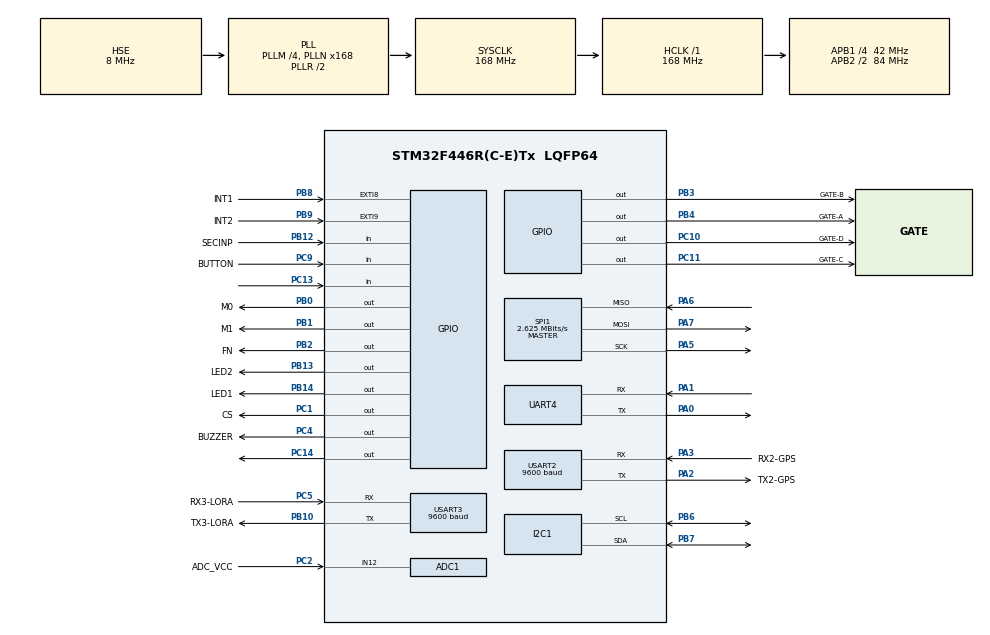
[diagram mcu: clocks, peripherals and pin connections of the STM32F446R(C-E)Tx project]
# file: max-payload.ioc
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ADC1.Channel-11\#ChannelRegularConversion=ADC_CHANNEL_12
ADC1.ContinuousConvMode=ENABLE
ADC1.NbrOfConversionFlag=1
ADC1.Rank-11\#ChannelRegularConversion=1
ADC1.SamplingTime-11\#ChannelRegularConversion=ADC_SAMPLETIME_3CYCLES
ADC1.master=1
I2C1.I2C_Mode=I2C_Fast
Mcu.Family=STM32F4
Mcu.Name=STM32F446R(C-E)Tx
Mcu.Package=LQFP64
NVIC.ADC_IRQn=true\:0\:0\:false\:false\:true\:true\:true\:true
NVIC.PriorityGroup=NVIC_PRIORITYGROUP_4
NVIC.TIM1_TRG_COM_TIM11_IRQn=true\:0\:0\:false\:false\:true\:true\:true\:true
NVIC.TIM1_UP_TIM10_IRQn=true\:0\:0\:false\:false\:true\:true\:true\:true
NVIC.TIM6_DAC_IRQn=true\:0\:0\:false\:false\:true\:true\:true\:true
NVIC.TIM7_IRQn=true\:0\:0\:false\:false\:true\:true\:true\:true
NVIC.USART2_IRQn=true\:0\:0\:false\:false\:true\:true\:true\:true
NVIC.USART3_IRQn=true\:0\:0\:false\:false\:true\:true\:true\:true
PA0-WKUP.Mode=Asynchronous
PA0-WKUP.Signal=UART4_TX
PA1.Mode=Asynchronous
PA1.Signal=UART4_RX
PA13.Mode=Serial_Wire
PA13.Signal=SYS_JTMS-SWDIO
PA14.Mode=Serial_Wire
PA14.Signal=SYS_JTCK-SWCLK
PA2.GPIO_Label=TX2-GPS
PA2.Mode=Asynchronous
PA2.Signal=USART2_TX
PA3.GPIO_Label=RX2-GPS
PA3.Mode=Asynchronous
PA3.Signal=USART2_RX
PA5.Mode=Full_Duplex_Master
PA5.Signal=SPI1_SCK
PA6.Mode=Full_Duplex_Master
PA6.Signal=SPI1_MISO
PA7.Mode=Full_Duplex_Master
PA7.Signal=SPI1_MOSI
PB0.GPIO_Label=M0
PB0.Signal=GPIO_Output
PB1.GPIO_Label=M1
PB1.Signal=GPIO_Output
PB10.GPIO_Label=TX3-LORA
PB10.Mode=Asynchronous
PB10.Signal=USART3_TX
PB12.GPIO_Label=SECINP
PB12.GPIO_PuPd=GPIO_PULLUP
PB12.Signal=GPIO_Input
PB13.GPIO_Label=LED2
PB13.Signal=GPIO_Output
PB14.GPIO_Label=LED1
PB14.Signal=GPIO_Output
PB2.GPIO_Label=FN
PB2.PinState=GPIO_PIN_SET
PB2.Signal=GPIO_Output
PB3.GPIO_Label=GATE-B
PB3.Signal=GPIO_Output
PB4.GPIO_Label=GATE-A
PB4.Signal=GPIO_Output
PB6.Mode=I2C
PB6.Signal=I2C1_SCL
PB7.Mode=I2C
PB7.Signal=I2C1_SDA
PB8.GPIO_Label=INT1
PB8.GPIO_ModeDefaultEXTI=GPIO_MODE_IT_RISING
PB8.Signal=GPXTI8
PB9.GPIO_Label=INT2
PB9.GPIO_PuPd=GPIO_NOPULL
PB9.Signal=GPXTI9
PC1.GPIO_Label=CS
PC1.Signal=GPIO_Output
PC10.GPIO_Label=GATE-D
PC10.Signal=GPIO_Output
PC11.GPIO_Label=GATE-C
PC11.Signal=GPIO_Output
PC13.GPIO_PuPd=GPIO_PULLDOWN
PC13.Signal=GPIO_Input
PC14-OSC32_IN.Signal=GPIO_Output
PC2.GPIO_Label=ADC_VCC
PC2.Signal=ADCx_IN12
PC4.GPIO_Label=BUZZER
PC4.Signal=GPIO_Output
PC5.GPIO_Label=RX3-LORA
PC5.Mode=Asynchronous
PC5.Signal=USART3_RX
PC9.GPIO_Label=BUTTON
PC9.GPIO_PuPd=GPIO_PULLUP
PC9.Signal=GPIO_Input
PH0-OSC_IN.Mode=HSE-External-Oscillator
PH0-OSC_IN.Signal=RCC_OSC_IN
PH1-OSC_OUT.Mode=HSE-External-Oscillator
PH1-OSC_OUT.Signal=RCC_OSC_OUT
ProjectManager.HeapSize=0x200
ProjectManager.StackSize=0x400
ProjectManager.TargetToolchain=STM32CubeIDE
RCC.AHBFreq_Value=168000000
RCC.APB1CLKDivider=RCC_HCLK_DIV4
RCC.APB1Freq_Value=42000000
RCC.APB1TimFreq_Value=84000000
RCC.APB2CLKDivider=RCC_HCLK_DIV2
RCC.APB2Freq_Value=84000000
RCC.APB2TimFreq_Value=168000000
RCC.CortexFreq_Value=168000000
RCC.HCLKFreq_Value=168000000
RCC.HSE_VALUE=8000000
RCC.PLLM=4
RCC.PLLN=168
RCC.PLLQ=7
RCC.PLLSourceVirtual=RCC_PLLSOURCE_HSE
RCC.SYSCLKFreq_VALUE=168000000
RCC.SYSCLKSource=RCC_SYSCLKSOURCE_PLLRCLK
RCC.USBFreq_Value=48000000
RCC.VCOOutputFreq_Value=336000000
SH.ADCx_IN12.0=ADC1_IN12,IN12
SPI1.BaudRatePrescaler=SPI_BAUDRATEPRESCALER_32
SPI1.CalculateBaudRate=2.625 MBits/s
SPI1.Direction=SPI_DIRECTION_2LINES
SPI1.Mode=SPI_MODE_MASTER
SPI1.VirtualType=VM_MASTER
TIM10.Period=4999
TIM10.Prescaler=1680
TIM11.Period=60999
TIM11.Prescaler=16800
TIM6.Period=34999
TIM6.Prescaler=8400
TIM7.Period=65000-1
TIM7.Prescaler=8400-1
UART4.VirtualMode=Asynchronous
USART2.BaudRate=9600
USART2.VirtualMode=VM_ASYNC
USART3.BaudRate=9600
USART3.VirtualMode=VM_ASYNC
VP_FATFS_VS_Generic.Mode=User_defined
VP_TIM10_VS_ClockSourceINT.Mode=Enable_Timer
VP_TIM11_VS_ClockSourceINT.Mode=Enable_Timer
VP_TIM6_VS_ClockSourceINT.Mode=Enable_Timer
VP_TIM7_VS_ClockSourceINT.Mode=Enable_Timer
board=custom

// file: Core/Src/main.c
/* USER CODE BEGIN Header */
/**
  ******************************************************************************
  * @file           : main.c
  * @brief          : Main program body
  ******************************************************************************
  * @attention
  *
  * Copyright (c) 2024 STMicroelectronics.
  * All rights reserved.
  *
  * This software is licensed under terms that can be found in the LICENSE file
  * in the root directory of this software component.
  * If no LICENSE file comes with this software, it is provided AS-IS.
  *
  ******************************************************************************
  */
/* USER CODE END Header */
#include "main.h"
#include "fatfs.h"

/* USER CODE BEGIN Includes */
#include "lwgps/lwgps.h"
#include "LSM6DSLTR.h"
#include "./BME280/bme280.h"
#include "w25q.h"
#include <math.h>
#include "FIR_FILTER.h"
#include "string.h"
#include "kalman.h"
/* USER CODE END Includes */

/* USER CODE BEGIN PD */
#define LORA_TX_BUFFER_SIZE 75
#define RX_BUFFER_SIZE 128
#define DEVICE_ID 3

/* USER CODE END PD */

ADC_HandleTypeDef hadc1;

I2C_HandleTypeDef hi2c1;

SPI_HandleTypeDef hspi1;

TIM_HandleTypeDef htim6;
TIM_HandleTypeDef htim7;
TIM_HandleTypeDef htim10;
TIM_HandleTypeDef htim11;

UART_HandleTypeDef huart4;
UART_HandleTypeDef huart2;
UART_HandleTypeDef huart3;

/* USER CODE BEGIN PV */

uint8_t rx_buffer[RX_BUFFER_SIZE];
uint8_t rx_index=0;
uint8_t rx_data=0;

float adc_pil_val=0;
float adc =0;
uint8_t counter=0;
uint8_t adc_flag=0;

uint8_t v4_battery=0;
uint8_t v4_mod=0;

uint8_t BUTTON_STATE=0;

uint8_t writeData[50] = {0,1,1,1};
uint8_t readData[50] = {0};

uint8_t loratx[LORA_TX_BUFFER_SIZE];
uint8_t lora_flag=0;
uint8_t sensor_flag=0;
uint8_t buzzer_flag=0;

float temperature=0;
float humidity=0;
float altitude=0;
float offset_altitude=0;
float pressure=0;
float alt=0;
float P0 = 1013.25;
float prev_alt=0;
float speed=0;
float altitude_max , speed_max, x_max;

float real_pitch, real_roll , toplam_pitch,toplam_roll;
float altitude_kalman;
uint8_t  sensor_counter =0, altitude_rampa_control=0;
uint16_t stage_sayac =0;
KalmanFilter kf;

typedef union{
  float fVal;
  unsigned char array[4];
}float2unit8;

enum ZORLU2024
{
	RAMPA,UCUS,BURNOUT,AYIR,AYRILDI_MI,AYRILDI,AYRILMADI,FINISH
};
enum ZORLU2024 BOOSTER;
/* USER CODE END PV */

void SystemClock_Config(void);
static void MX_GPIO_Init(void);
static void MX_ADC1_Init(void);
static void MX_I2C1_Init(void);
static void MX_SPI1_Init(void);
static void MX_UART4_Init(void);
static void MX_USART2_UART_Init(void);
static void MX_USART3_UART_Init(void);
static void MX_TIM11_Init(void);
static void MX_TIM10_Init(void);
static void MX_TIM6_Init(void);
static void MX_TIM7_Init(void);
/* USER CODE BEGIN PFP */
int16_t I2C_Testsensor(void);
int8_t user_i2c_read(uint8_t id, uint8_t reg_addr, uint8_t *data, uint16_t len);
int8_t user_i2c_write(uint8_t id, uint8_t reg_addr, uint8_t *data, uint16_t len);
void user_delay_ms(uint32_t period);
float BME280_Get_Altitude(void);
void E220_CONFIG(uint8_t ADDH, uint8_t ADDL, uint8_t CHN, uint8_t MODE);
void union_converter();
void Altitude_Offset();
/* USER CODE END PFP */

/* USER CODE BEGIN 0 */
lwgps_t gps;
LSM6DSLTR Lsm_Sensor;
FIRFilter accx;
FIRFilter IMU_GYROX;
FIRFilter IMU_GYROY;
FIRFilter IMU_GYROZ;

struct bme280_dev dev;
struct bme280_data comp_data;
int8_t rslt=0;

void HAL_UART_RxCpltCallback(UART_HandleTypeDef *huart)
{
	if(rx_data != '\n' && rx_index < RX_BUFFER_SIZE)
	{
		rx_buffer[rx_index++] = rx_data;
	}
	else {
		lwgps_process(&gps, rx_buffer, rx_index+1);
		rx_index = 0;
		rx_data = 0;
	}
	HAL_UART_Receive_IT(&huart2, &rx_data, 1);

}

void HAL_TIM_PeriodElapsedCallback(TIM_HandleTypeDef *htim)
{

	if(htim==&htim11){ // 1.5sn
		lora_flag=1;

		counter++;
		if(counter == 2)
		{
			adc_flag=1;
			counter =0;
			HAL_ADC_Start_IT(&hadc1);
		}

	}

	if(htim==&htim10){ //50 ms timer
		sensor_flag=1;

	}

	if(htim==&htim6){
    //  motor_burnout++;
	}
	if(htim==&htim7){
     // kesin_burnout++;
	}
}

void HAL_ADC_ConvCpltCallback(ADC_HandleTypeDef* hadc)
{
	if(hadc->Instance == ADC1 )
	{
		adc= HAL_ADC_GetValue(&hadc1);

		adc_flag = 1;
	}
}

/* USER CODE END 0 */

int main(void)
{

  /* MCU Configuration--------------------------------------------------------*/

  /* Reset of all peripherals, Initializes the Flash interface and the Systick. */
  HAL_Init();

  /* Configure the system clock */
  SystemClock_Config();

  /* Initialize all configured peripherals */
  MX_GPIO_Init();
  MX_ADC1_Init();
  MX_I2C1_Init();
  MX_SPI1_Init();
  MX_UART4_Init();
  MX_USART2_UART_Init();
  MX_USART3_UART_Init();
  MX_FATFS_Init();
  MX_TIM11_Init();
  MX_TIM10_Init();
  MX_TIM6_Init();
  MX_TIM7_Init();
  /* USER CODE BEGIN 2 */
  HAL_GPIO_WritePin(GPIOB, GPIO_PIN_2, GPIO_PIN_SET);
  HAL_GPIO_WritePin(GPIOC, GPIO_PIN_1, GPIO_PIN_SET);
  HAL_GPIO_WritePin(GPIOC, GPIO_PIN_14, GPIO_PIN_SET);

  ///KURTARMA PORTLARI KAPALI EMIN OL
  HAL_GPIO_WritePin(GPIOB, GPIO_PIN_4, GPIO_PIN_RESET);//A
  HAL_GPIO_WritePin(GPIOB, GPIO_PIN_3, GPIO_PIN_RESET);//B
  HAL_GPIO_WritePin(GPIOC, GPIO_PIN_11, GPIO_PIN_RESET);//C
  HAL_GPIO_WritePin(GPIOC, GPIO_PIN_10, GPIO_PIN_RESET);//D

  HAL_UART_Receive_IT(&huart2,&rx_data,1);
  HAL_TIM_Base_Start_IT(&htim11);
  HAL_TIM_Base_Start_IT(&htim10);
  HAL_ADC_Start_IT(&hadc1);

  MAFilter_Init(&accx);
  FIRFilter_Init(&IMU_GYROY);
  FIRFilter_Init(&IMU_GYROX);
  FIRFilter_Init(&IMU_GYROZ);

  lwgps_init(&gps);
  LSM6DSLTR_Init();
  E220_CONFIG(0x6,0x3A,0X10,1); // 0x10 ch

   dev.dev_id = BME280_I2C_ADDR_PRIM;
   dev.intf = BME280_I2C_INTF;
   dev.read = user_i2c_read;
   dev.write = user_i2c_write;
   dev.delay_ms = user_delay_ms;

   rslt = bme280_init(&dev);

   dev.settings.osr_h = BME280_OVERSAMPLING_1X;
   dev.settings.osr_p = BME280_OVERSAMPLING_4X;
   dev.settings.osr_t = BME280_OVERSAMPLING_2X;
   dev.settings.filter = BME280_FILTER_COEFF_16;
   rslt = bme280_set_sensor_settings(BME280_OSR_PRESS_SEL | BME280_OSR_TEMP_SEL | BME280_OSR_HUM_SEL | BME280_FILTER_SEL, &dev);

   ////ALTITUDE OFFSET

    Altitude_Offset();
    HAL_GPIO_TogglePin(GPIOC,GPIO_PIN_4);
	HAL_GPIO_TogglePin(GPIOB,GPIO_PIN_14);
	HAL_GPIO_TogglePin(GPIOB,GPIO_PIN_13);
	HAL_Delay(1000);
	HAL_GPIO_TogglePin(GPIOC,GPIO_PIN_4);
	HAL_GPIO_TogglePin(GPIOB,GPIO_PIN_14);
	HAL_GPIO_TogglePin(GPIOB,GPIO_PIN_13);
	HAL_Delay(100);
	// KalmanFilter_Init(&kf, 0.005, 0.1, 0.0);

  /* USER CODE END 2 */

  /* Infinite loop */
  /* USER CODE BEGIN WHILE */
  while (1)
  {

		   if(sensor_flag==1)
		   {
					sensor_flag=0;
					prev_alt=altitude;
					rslt = bme280_set_sensor_mode(BME280_FORCED_MODE, &dev);

					rslt = bme280_get_sensor_data(BME280_ALL, &comp_data, &dev);
					if(rslt == BME280_OK)
					{
					  temperature = comp_data.temperature/100.00;
					  humidity = comp_data.humidity;
					  pressure = comp_data.pressure;
					  altitude=BME280_Get_Altitude()-offset_altitude;
					//  altitude_kalman= KalmanFilter_Update(&kf, altitude);
					  speed=(altitude-prev_alt)*33.3;

					}
					 LSM6DSLTR_Read_Accel_Data(&Lsm_Sensor);
					 calculate_roll_pitch(&Lsm_Sensor);
					 LSM6DSLTR_Read_Gyro_Data(&Lsm_Sensor);
					 update_angles(&Lsm_Sensor);

					 Lsm_Sensor.Accel_X=FIRFilter_Update(&accx,  Lsm_Sensor.Accel_X);

					 Lsm_Sensor.Gyro_X=FIRFilter_Update(&IMU_GYROX,  Lsm_Sensor.Gyro_X);
					 Lsm_Sensor.Gyro_Y=FIRFilter_Update(&IMU_GYROY, Lsm_Sensor.Gyro_Y);
					 Lsm_Sensor.Gyro_Z=FIRFilter_Update(&IMU_GYROZ, Lsm_Sensor.Gyro_Z);

					 toplam_pitch+= Lsm_Sensor.Pitch;
					 toplam_roll+= Lsm_Sensor.Roll;

					 sensor_counter++;
					 if(sensor_counter == 6)
					 {
						 real_pitch = toplam_pitch/6;
						 real_roll = toplam_roll/6;
						 toplam_roll=0;
						 toplam_pitch=0;
						 sensor_counter =0;
					 }

					 BUTTON_STATE=HAL_GPIO_ReadPin(GPIOC, GPIO_PIN_9);

		   }

   if(lora_flag==1)
   {

		loratx[0]=0x7;
		loratx[1]=0x2B;
		loratx[2]=0x12;
		loratx[3]=DEVICE_ID;
		loratx[4]=gps.sats_in_view;

		union_converter();

		loratx[49]=v4_battery;
		loratx[50]=0x33; // v4mod
		loratx[51]=0;
		 for(uint8_t i=52;i<69;i++)
		 {
			loratx[i]='0';
		 }

		loratx[73]=v4_mod;
		loratx[74]='\n';

    	HAL_UART_Transmit_IT(&huart3,loratx,LORA_TX_BUFFER_SIZE  );
 	   lora_flag=0;

         }

/************************************************************************************/

/*************************************************************************************/
		  if(altitude>altitude_max) altitude_max = altitude;

		  if(speed>speed_max) speed_max = speed;

		  if( Lsm_Sensor.Accel_X> x_max) x_max =  Lsm_Sensor.Accel_X;

		  if(adc_flag ==1)
		  {
			  if(adc > 2476) adc = 2234;
			  if(adc < 1755) adc = 1755;
			  // 6V = 1755 adc val 1,41V
			  // 8.4V = 2476 adc val 1,99V 0,58V

		  adc_pil_val=(float)( ( ( (adc/4095)*3.3)-1.41) / (1.99-1.41) ) *100  ;
		  v4_battery= adc_pil_val;
		  adc_flag=0;
			}

    /* USER CODE END WHILE */

  }
}

void SystemClock_Config(void)
{
  RCC_OscInitTypeDef RCC_OscInitStruct = {0};
  RCC_ClkInitTypeDef RCC_ClkInitStruct = {0};

  /** Configure the main internal regulator output voltage
  */
  __HAL_RCC_PWR_CLK_ENABLE();
  __HAL_PWR_VOLTAGESCALING_CONFIG(PWR_REGULATOR_VOLTAGE_SCALE1);

  /** Initializes the RCC Oscillators according to the specified parameters
  * in the RCC_OscInitTypeDef structure.
  */
  RCC_OscInitStruct.OscillatorType = RCC_OSCILLATORTYPE_HSE;
  RCC_OscInitStruct.HSEState = RCC_HSE_ON;
  RCC_OscInitStruct.PLL.PLLState = RCC_PLL_ON;
  RCC_OscInitStruct.PLL.PLLSource = RCC_PLLSOURCE_HSE;
  RCC_OscInitStruct.PLL.PLLM = 4;
  RCC_OscInitStruct.PLL.PLLN = 168;
  RCC_OscInitStruct.PLL.PLLP = RCC_PLLP_DIV2;
  RCC_OscInitStruct.PLL.PLLQ = 7;
  RCC_OscInitStruct.PLL.PLLR = 2;
  if (HAL_RCC_OscConfig(&RCC_OscInitStruct) != HAL_OK)
  {
    Error_Handler();
  }

  /** Initializes the CPU, AHB and APB buses clocks
  */
  RCC_ClkInitStruct.ClockType = RCC_CLOCKTYPE_HCLK|RCC_CLOCKTYPE_SYSCLK
                              |RCC_CLOCKTYPE_PCLK1|RCC_CLOCKTYPE_PCLK2;
  RCC_ClkInitStruct.SYSCLKSource = RCC_SYSCLKSOURCE_PLLRCLK;
  RCC_ClkInitStruct.AHBCLKDivider = RCC_SYSCLK_DIV1;
  RCC_ClkInitStruct.APB1CLKDivider = RCC_HCLK_DIV4;
  RCC_ClkInitStruct.APB2CLKDivider = RCC_HCLK_DIV2;

  if (HAL_RCC_ClockConfig(&RCC_ClkInitStruct, FLASH_LATENCY_5) != HAL_OK)
  {
    Error_Handler();
  }
}

static void MX_ADC1_Init(void)
{

  ADC_ChannelConfTypeDef sConfig = {0};

  /** Configure the global features of the ADC (Clock, Resolution, Data Alignment and number of conversion)
  */
  hadc1.Instance = ADC1;
  hadc1.Init.ClockPrescaler = ADC_CLOCK_SYNC_PCLK_DIV4;
  hadc1.Init.Resolution = ADC_RESOLUTION_12B;
  hadc1.Init.ScanConvMode = DISABLE;
  hadc1.Init.ContinuousConvMode = ENABLE;
  hadc1.Init.DiscontinuousConvMode = DISABLE;
  hadc1.Init.ExternalTrigConvEdge = ADC_EXTERNALTRIGCONVEDGE_NONE;
  hadc1.Init.ExternalTrigConv = ADC_SOFTWARE_START;
  hadc1.Init.DataAlign = ADC_DATAALIGN_RIGHT;
  hadc1.Init.NbrOfConversion = 1;
  hadc1.Init.DMAContinuousRequests = DISABLE;
  hadc1.Init.EOCSelection = ADC_EOC_SINGLE_CONV;
  if (HAL_ADC_Init(&hadc1) != HAL_OK)
  {
    Error_Handler();
  }

  /** Configure for the selected ADC regular channel its corresponding rank in the sequencer and its sample time.
  */
  sConfig.Channel = ADC_CHANNEL_12;
  sConfig.Rank = 1;
  sConfig.SamplingTime = ADC_SAMPLETIME_3CYCLES;
  if (HAL_ADC_ConfigChannel(&hadc1, &sConfig) != HAL_OK)
  {
    Error_Handler();
  }

}

static void MX_I2C1_Init(void)
{

  hi2c1.Instance = I2C1;
  hi2c1.Init.ClockSpeed = 400000;
  hi2c1.Init.DutyCycle = I2C_DUTYCYCLE_2;
  hi2c1.Init.OwnAddress1 = 0;
  hi2c1.Init.AddressingMode = I2C_ADDRESSINGMODE_7BIT;
  hi2c1.Init.DualAddressMode = I2C_DUALADDRESS_DISABLE;
  hi2c1.Init.OwnAddress2 = 0;
  hi2c1.Init.GeneralCallMode = I2C_GENERALCALL_DISABLE;
  hi2c1.Init.NoStretchMode = I2C_NOSTRETCH_DISABLE;
  if (HAL_I2C_Init(&hi2c1) != HAL_OK)
  {
    Error_Handler();
  }

}

static void MX_SPI1_Init(void)
{

  /* SPI1 parameter configuration*/
  hspi1.Instance = SPI1;
  hspi1.Init.Mode = SPI_MODE_MASTER;
  hspi1.Init.Direction = SPI_DIRECTION_2LINES;
  hspi1.Init.DataSize = SPI_DATASIZE_8BIT;
  hspi1.Init.CLKPolarity = SPI_POLARITY_LOW;
  hspi1.Init.CLKPhase = SPI_PHASE_1EDGE;
  hspi1.Init.NSS = SPI_NSS_SOFT;
  hspi1.Init.BaudRatePrescaler = SPI_BAUDRATEPRESCALER_32;
  hspi1.Init.FirstBit = SPI_FIRSTBIT_MSB;
  hspi1.Init.TIMode = SPI_TIMODE_DISABLE;
  hspi1.Init.CRCCalculation = SPI_CRCCALCULATION_DISABLE;
  hspi1.Init.CRCPolynomial = 10;
  if (HAL_SPI_Init(&hspi1) != HAL_OK)
  {
    Error_Handler();
  }

}

static void MX_TIM6_Init(void)
{

  TIM_MasterConfigTypeDef sMasterConfig = {0};

  htim6.Instance = TIM6;
  htim6.Init.Prescaler = 8400;
  htim6.Init.CounterMode = TIM_COUNTERMODE_UP;
  htim6.Init.Period = 34999;
  htim6.Init.AutoReloadPreload = TIM_AUTORELOAD_PRELOAD_DISABLE;
  if (HAL_TIM_Base_Init(&htim6) != HAL_OK)
  {
    Error_Handler();
  }
  sMasterConfig.MasterOutputTrigger = TIM_TRGO_RESET;
  sMasterConfig.MasterSlaveMode = TIM_MASTERSLAVEMODE_DISABLE;
  if (HAL_TIMEx_MasterConfigSynchronization(&htim6, &sMasterConfig) != HAL_OK)
  {
    Error_Handler();
  }

}

static void MX_TIM7_Init(void)
{

  TIM_MasterConfigTypeDef sMasterConfig = {0};

  htim7.Instance = TIM7;
  htim7.Init.Prescaler = 8400-1;
  htim7.Init.CounterMode = TIM_COUNTERMODE_UP;
  htim7.Init.Period = 65000-1;
  htim7.Init.AutoReloadPreload = TIM_AUTORELOAD_PRELOAD_DISABLE;
  if (HAL_TIM_Base_Init(&htim7) != HAL_OK)
  {
    Error_Handler();
  }
  sMasterConfig.MasterOutputTrigger = TIM_TRGO_RESET;
  sMasterConfig.MasterSlaveMode = TIM_MASTERSLAVEMODE_DISABLE;
  if (HAL_TIMEx_MasterConfigSynchronization(&htim7, &sMasterConfig) != HAL_OK)
  {
    Error_Handler();
  }

}

static void MX_TIM10_Init(void)
{

  htim10.Instance = TIM10;
  htim10.Init.Prescaler = 1680;
  htim10.Init.CounterMode = TIM_COUNTERMODE_UP;
  htim10.Init.Period = 4999;
  htim10.Init.ClockDivision = TIM_CLOCKDIVISION_DIV1;
  htim10.Init.AutoReloadPreload = TIM_AUTORELOAD_PRELOAD_DISABLE;
  if (HAL_TIM_Base_Init(&htim10) != HAL_OK)
  {
    Error_Handler();
  }

}

static void MX_TIM11_Init(void)
{

  htim11.Instance = TIM11;
  htim11.Init.Prescaler = 16800;
  htim11.Init.CounterMode = TIM_COUNTERMODE_UP;
  htim11.Init.Period = 60999;
  htim11.Init.ClockDivision = TIM_CLOCKDIVISION_DIV1;
  htim11.Init.AutoReloadPreload = TIM_AUTORELOAD_PRELOAD_DISABLE;
  if (HAL_TIM_Base_Init(&htim11) != HAL_OK)
  {
    Error_Handler();
  }

}

static void MX_UART4_Init(void)
{

  huart4.Instance = UART4;
  huart4.Init.BaudRate = 115200;
  huart4.Init.WordLength = UART_WORDLENGTH_8B;
  huart4.Init.StopBits = UART_STOPBITS_1;
  huart4.Init.Parity = UART_PARITY_NONE;
  huart4.Init.Mode = UART_MODE_TX_RX;
  huart4.Init.HwFlowCtl = UART_HWCONTROL_NONE;
  huart4.Init.OverSampling = UART_OVERSAMPLING_16;
  if (HAL_UART_Init(&huart4) != HAL_OK)
  {
    Error_Handler();
  }

}

static void MX_USART2_UART_Init(void)
{

  huart2.Instance = USART2;
  huart2.Init.BaudRate = 9600;
  huart2.Init.WordLength = UART_WORDLENGTH_8B;
  huart2.Init.StopBits = UART_STOPBITS_1;
  huart2.Init.Parity = UART_PARITY_NONE;
  huart2.Init.Mode = UART_MODE_TX_RX;
  huart2.Init.HwFlowCtl = UART_HWCONTROL_NONE;
  huart2.Init.OverSampling = UART_OVERSAMPLING_16;
  if (HAL_UART_Init(&huart2) != HAL_OK)
  {
    Error_Handler();
  }

}

static void MX_USART3_UART_Init(void)
{

  huart3.Instance = USART3;
  huart3.Init.BaudRate = 9600;
  huart3.Init.WordLength = UART_WORDLENGTH_8B;
  huart3.Init.StopBits = UART_STOPBITS_1;
  huart3.Init.Parity = UART_PARITY_NONE;
  huart3.Init.Mode = UART_MODE_TX_RX;
  huart3.Init.HwFlowCtl = UART_HWCONTROL_NONE;
  huart3.Init.OverSampling = UART_OVERSAMPLING_16;
  if (HAL_UART_Init(&huart3) != HAL_OK)
  {
    Error_Handler();
  }

}

static void MX_GPIO_Init(void)
{
  GPIO_InitTypeDef GPIO_InitStruct = {0};

  /* GPIO Ports Clock Enable */
  __HAL_RCC_GPIOC_CLK_ENABLE();
  __HAL_RCC_GPIOH_CLK_ENABLE();
  __HAL_RCC_GPIOA_CLK_ENABLE();
  __HAL_RCC_GPIOB_CLK_ENABLE();

  /*Configure GPIO pin Output Level */
  HAL_GPIO_WritePin(GPIOC, GPIO_PIN_14|CS_Pin|BUZZER_Pin|GATE_D_Pin
                          |GATE_C_Pin, GPIO_PIN_RESET);

  /*Configure GPIO pin Output Level */
  HAL_GPIO_WritePin(GPIOB, M0_Pin|M1_Pin|LED2_Pin|LED1_Pin
                          |GATE_B_Pin|GATE_A_Pin, GPIO_PIN_RESET);

  /*Configure GPIO pin Output Level */
  HAL_GPIO_WritePin(FN_GPIO_Port, FN_Pin, GPIO_PIN_SET);

  /*Configure GPIO pin : PC13 */
  GPIO_InitStruct.Pin = GPIO_PIN_13;
  GPIO_InitStruct.Mode = GPIO_MODE_INPUT;
  GPIO_InitStruct.Pull = GPIO_PULLDOWN;
  HAL_GPIO_Init(GPIOC, &GPIO_InitStruct);

  /*Configure GPIO pins : PC14 CS_Pin BUZZER_Pin GATE_D_Pin
                           GATE_C_Pin */
  GPIO_InitStruct.Pin = GPIO_PIN_14|CS_Pin|BUZZER_Pin|GATE_D_Pin
                          |GATE_C_Pin;
  GPIO_InitStruct.Mode = GPIO_MODE_OUTPUT_PP;
  GPIO_InitStruct.Pull = GPIO_NOPULL;
  GPIO_InitStruct.Speed = GPIO_SPEED_FREQ_LOW;
  HAL_GPIO_Init(GPIOC, &GPIO_InitStruct);

  /*Configure GPIO pins : M0_Pin M1_Pin FN_Pin LED2_Pin
                           LED1_Pin GATE_B_Pin GATE_A_Pin */
  GPIO_InitStruct.Pin = M0_Pin|M1_Pin|FN_Pin|LED2_Pin
                          |LED1_Pin|GATE_B_Pin|GATE_A_Pin;
  GPIO_InitStruct.Mode = GPIO_MODE_OUTPUT_PP;
  GPIO_InitStruct.Pull = GPIO_NOPULL;
  GPIO_InitStruct.Speed = GPIO_SPEED_FREQ_LOW;
  HAL_GPIO_Init(GPIOB, &GPIO_InitStruct);

  /*Configure GPIO pin : SECINP_Pin */
  GPIO_InitStruct.Pin = SECINP_Pin;
  GPIO_InitStruct.Mode = GPIO_MODE_INPUT;
  GPIO_InitStruct.Pull = GPIO_PULLUP;
  HAL_GPIO_Init(SECINP_GPIO_Port, &GPIO_InitStruct);

  /*Configure GPIO pin : BUTTON_Pin */
  GPIO_InitStruct.Pin = BUTTON_Pin;
  GPIO_InitStruct.Mode = GPIO_MODE_INPUT;
  GPIO_InitStruct.Pull = GPIO_PULLUP;
  HAL_GPIO_Init(BUTTON_GPIO_Port, &GPIO_InitStruct);

  /*Configure GPIO pins : INT1_Pin INT2_Pin */
  GPIO_InitStruct.Pin = INT1_Pin|INT2_Pin;
  GPIO_InitStruct.Mode = GPIO_MODE_IT_RISING;
  GPIO_InitStruct.Pull = GPIO_NOPULL;
  HAL_GPIO_Init(GPIOB, &GPIO_InitStruct);

}

/* USER CODE BEGIN 4 */
int16_t I2C_Testsensor(void){

	HAL_StatusTypeDef status;

	status=HAL_I2C_IsDeviceReady(&hi2c1,0x6A <<1, 4, 100);

	if(HAL_OK==status){

		return 1;
		}
	else {
		return 0;
		}

}
void E220_CONFIG(uint8_t ADDH, uint8_t ADDL, uint8_t CHN, uint8_t MODE)
{
    HAL_GPIO_WritePin(GPIOB, GPIO_PIN_2, SET);
    HAL_GPIO_WritePin(GPIOB, GPIO_PIN_1, SET);
    HAL_Delay(50);

    char cfg_buff[8] = {0}; // E220 için 8 elemanlı bir dizi kullanıyoruz
    enum {Transparent, Fixed} mode;
    mode = MODE;

    cfg_buff[0] = ADDH;
    cfg_buff[1] = ADDL;
    cfg_buff[2] = 0x62;
    cfg_buff[3] = 0x40; // 0x00
    cfg_buff[4] = CHN;

    switch(mode){
        case Transparent:
            cfg_buff[5] = 0x00;  // opsiyon
            break;
        case Fixed:
            cfg_buff[5] = 0x11;
            break;
        default:
            cfg_buff[5] = 0x11;
     }

     cfg_buff[6] = 0x00;
     cfg_buff[7] = 0x00;

    HAL_UART_Transmit(&huart3, (uint8_t*) cfg_buff, 8, 1000);

    HAL_Delay(25);
    HAL_GPIO_WritePin(GPIOB, GPIO_PIN_2, RESET);
    HAL_GPIO_WritePin(GPIOB, GPIO_PIN_1, RESET);
    HAL_Delay(25);
}

float BME280_Get_Altitude(void)
{
	float press = comp_data.pressure / 10000.0;
	float temp = comp_data.temperature / 100.0;
	alt = 44330 * (1 - pow((press / 1013.25),(1/5.255)));
	//alt = ((pow((P0/press), (1/5.257))-1) * (temp + 273.15)) / 0.0065;

	return (alt);
}
int8_t user_i2c_read(uint8_t id, uint8_t reg_addr, uint8_t *data, uint16_t len)
{
  if(HAL_I2C_Master_Transmit(&hi2c1, (id << 1), &reg_addr, 1, 10) != HAL_OK) return -1;
  if(HAL_I2C_Master_Receive(&hi2c1, (id << 1) | 0x01, data, len, 10) != HAL_OK) return -1;

  return 0;
}

void user_delay_ms(uint32_t period)
{
  HAL_Delay(period);
}
int8_t user_i2c_write(uint8_t id, uint8_t reg_addr, uint8_t *data, uint16_t len)
{
  int8_t *buf;
  buf = malloc(len +1);
  buf[0] = reg_addr;
  memcpy(buf +1, data, len);

  if(HAL_I2C_Master_Transmit(&hi2c1, (id << 1), (uint8_t*)buf, len + 1, HAL_MAX_DELAY) != HAL_OK) return -1;

  free(buf);
  return 0;
}

void union_converter()
{
	 float2unit8 f2u8_gpsalt;
    f2u8_gpsalt.fVal=gps.altitude;
		 for(uint8_t i=0;i<4;i++)
		 {
			loratx[i+5]=f2u8_gpsalt.array[i];
		 }

	 float2unit8 f2u8_latitude;
	 f2u8_latitude.fVal=gps.latitude;
		 for(uint8_t i=0;i<4;i++)
		 {
			loratx[i+9]=f2u8_latitude.array[i];
		 }

	 float2unit8 f2u8_longitude;
	 f2u8_longitude.fVal=gps.longitude;
		 for(uint8_t i=0;i<4;i++)
		 {
			loratx[i+13]=f2u8_longitude.array[i];
		 }

	 float2unit8 f2u8_altitude;
	 f2u8_altitude.fVal=altitude;
		 for(uint8_t i=0;i<4;i++)
		 {
			loratx[i+17]=f2u8_altitude.array[i];
		 }
	 float2unit8 f2u8_speed;
	 f2u8_speed.fVal=speed;
		 for(uint8_t i=0;i<4;i++)
		 {
			loratx[i+21]=f2u8_speed.array[i];
		 }

	 float2unit8 f2u8_temp;
	 f2u8_temp.fVal=temperature;
		 for(uint8_t i=0;i<4;i++)
		 {
			loratx[i+25]=f2u8_temp.array[i];
		 }

	 float2unit8 f2u8_accx;
	 f2u8_accx.fVal=Lsm_Sensor.Accel_X;
		 for(uint8_t i=0;i<4;i++)
		 {
			loratx[i+29]=f2u8_accx.array[i];
		 }

	 float2unit8 f2u8_accy;
	 f2u8_accy.fVal=Lsm_Sensor.Accel_Y;
	 	 for(uint8_t i=0;i<4;i++)
		 {
			loratx[i+33]=f2u8_accy.array[i];
		 }

	 float2unit8 f2u8_accz;
	 f2u8_accz.fVal=Lsm_Sensor.Accel_Z;
	 	 for(uint8_t i=0;i<4;i++)
		 {
		    loratx[i+37]=f2u8_accz.array[i];
		 }

	 float2unit8 f2u8_roll;
	 f2u8_roll.fVal=Lsm_Sensor.Roll;
		 for(uint8_t i=0;i<4;i++)
		 {
			loratx[i+41]=f2u8_roll.array[i];
		 }

	 float2unit8 f2u8_pitch;
	 f2u8_pitch.fVal=real_pitch;
		 for(uint8_t i=0;i<4;i++)
		 {
			loratx[i+45]=f2u8_pitch.array[i];
		 }

		 f2u8_altitude.fVal=altitude_max;

		loratx[69] = f2u8_altitude.array[0];
		loratx[70] = f2u8_altitude.array[1];
		loratx[71] = f2u8_altitude.array[2];
		loratx[72] = f2u8_altitude.array[3];

}

void Altitude_Offset()
{
	for(uint8_t i=0;i<5;i++)
	{
		HAL_Delay(50);
	  rslt = bme280_set_sensor_mode(BME280_FORCED_MODE, &dev);
	  rslt = bme280_get_sensor_data(BME280_ALL, &comp_data, &dev);
	  if(rslt == BME280_OK)
	  { pressure = comp_data.pressure;
	    offset_altitude=BME280_Get_Altitude();
	  }
	}
}
/* USER CODE END 4 */

void Error_Handler(void)
{
  __disable_irq();
  while (1)
  {
  }
}
